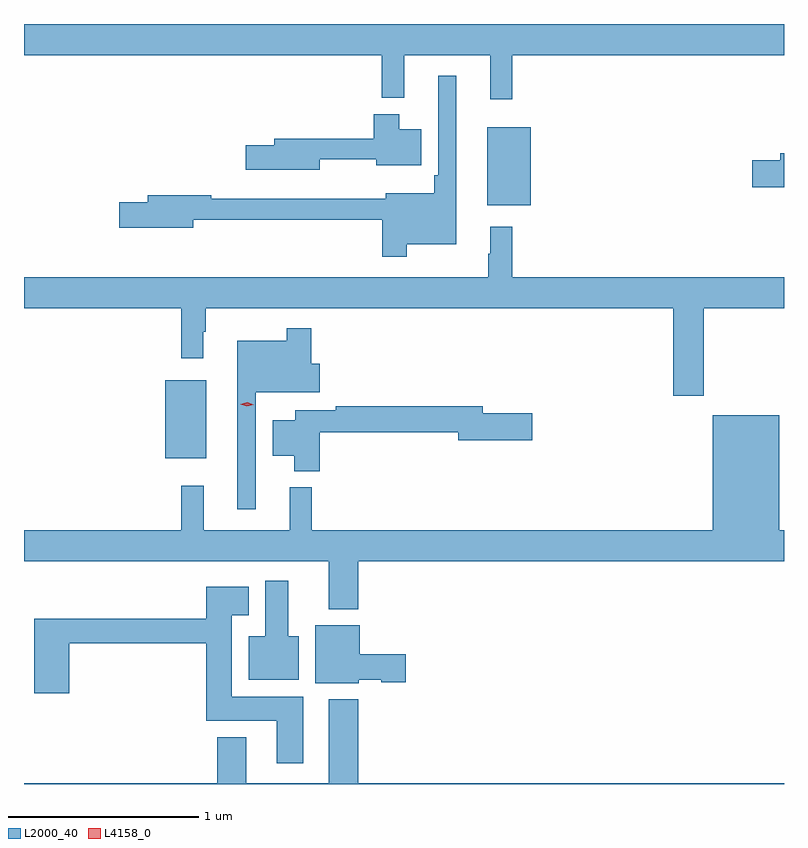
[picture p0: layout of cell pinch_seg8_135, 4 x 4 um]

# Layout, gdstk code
import gdstk
lib = gdstk.Library(unit=1e-6, precision=1e-09)
def R(c, l, rs):  # rectangles x0, y0, x1, y1
    for r in rs: c.add(gdstk.rectangle(r[:2], r[2:], *l))
def P(c, l, *ps):  # polygons
    for p in ps: c.add(gdstk.Polygon(p, *l))
L2000_40 = (2000, 40)
L4158_0 = (4158, 0)

pinch_seg8_135 = lib.new_cell('pinch_seg8_135')
R(pinch_seg8_135, L2000_40, [(772.748,1126.367,772.963,1126.777), (774.443,1127.699,774.67,1128.109)])
P(pinch_seg8_135, L2000_40, [(774.575,1128.488),(776.004,1128.488),(776.004,1128.652),(772.004,1128.652),(772.004,1128.488),(773.887,1128.488),(773.887,1128.263),(774.005,1128.263),(774.005,1128.488),(774.458,1128.488),(774.458,1128.255),(774.575,1128.255)],
  [(774.019,1127.492),(774.28,1127.492),(774.28,1128.379),(774.183,1128.379),(774.183,1127.857),(774.163,1127.857),(774.163,1127.761),(773.909,1127.761),(773.909,1127.732),(773.656,1127.732),(773.656,1127.731),(772.99,1127.731),(772.99,1127.75),(772.655,1127.75),(772.655,1127.714),(772.506,1127.714),(772.506,1127.579),(772.894,1127.579),(772.894,1127.622),(773.89,1127.622),(773.89,1127.427),(774.019,1127.427)],
  [(773.56,1127.939),(773.858,1127.939),(773.858,1127.909),(774.094,1127.909),(774.094,1128.097),(773.98,1128.097),(773.98,1128.178),(773.846,1128.178),(773.846,1128.049),(773.321,1128.049),(773.321,1128.015),(773.172,1128.015),(773.172,1127.885),(773.56,1127.885)],
  [(776.004,1127.972),(775.985,1127.972),(775.985,1127.936),(775.836,1127.936),(775.836,1127.794),(776.004,1127.794)],
  [(775.581,1127.156),(776.004,1127.156),(776.004,1127.32),(774.575,1127.32),(774.575,1127.584),(774.458,1127.584),(774.458,1127.444),(774.447,1127.444),(774.447,1127.32),(772.004,1127.32),(772.004,1127.156),(772.831,1127.156),(772.831,1126.893),(772.948,1126.893),(772.948,1127.033),(772.96,1127.033),(772.96,1127.156),(775.421,1127.156),(775.421,1126.695),(775.581,1126.695)],
  [(773.223,1126.715),(773.56,1126.715),(773.56,1126.863),(773.516,1126.863),(773.516,1127.05),(773.388,1127.05),(773.388,1126.984),(773.126,1126.984),(773.126,1126.098),(773.223,1126.098)],
  [(773.561,1126.504),(774.29,1126.504),(774.29,1126.462),(774.679,1126.462),(774.679,1126.604),(774.418,1126.604),(774.418,1126.64),(773.644,1126.64),(773.644,1126.62),(773.432,1126.62),(773.432,1126.567),(773.312,1126.567),(773.312,1126.379),(773.426,1126.379),(773.426,1126.298),(773.561,1126.298)],
  [(773.519,1126.213),(773.402,1126.213),(773.402,1125.988),(772.949,1125.988),(772.949,1126.222),(772.831,1126.222),(772.831,1125.988),(772.004,1125.988),(772.004,1125.824),(773.609,1125.824),(773.609,1125.572),(773.762,1125.572),(773.762,1125.824),(776.004,1125.824),(776.004,1125.988),(775.978,1125.988),(775.978,1126.594),(775.628,1126.594),(775.628,1125.988),(773.519,1125.988)],
  [(773.449,1125.43),(773.395,1125.43),(773.395,1125.721),(773.273,1125.721),(773.273,1125.43),(773.186,1125.43),(773.186,1125.2),(773.449,1125.2)],
  [(773.473,1125.112),(773.098,1125.112),(773.098,1125.539),(773.188,1125.539),(773.188,1125.691),(772.964,1125.691),(772.964,1125.523),(772.058,1125.523),(772.058,1125.129),(772.241,1125.129),(772.241,1125.394),(772.964,1125.394),(772.964,1124.984),(773.333,1124.984),(773.333,1124.76),(773.473,1124.76)],
  [(773.766,1125.2),(773.883,1125.2),(773.883,1125.188),(774.013,1125.188),(774.013,1125.335),(773.77,1125.335),(773.77,1125.487),(773.537,1125.487),(773.537,1125.182),(773.766,1125.182)],
  [(776.004,1124.656),(773.762,1124.656),(773.762,1125.097),(773.609,1125.097),(773.609,1124.656),(773.173,1124.656),(773.173,1124.899),(773.021,1124.899),(773.021,1124.656),(772.004,1124.656),(772.004,1124.652),(776.004,1124.652)])
P(pinch_seg8_135, L4158_0, [(773.176,1126.64),(773.142,1126.652),(773.142,1126.652),(773.142,1126.652),(773.178,1126.66),(773.212,1126.648),(773.213,1126.648),(773.212,1126.648)])

lib.write_gds('pinch_seg8_135.gds')
